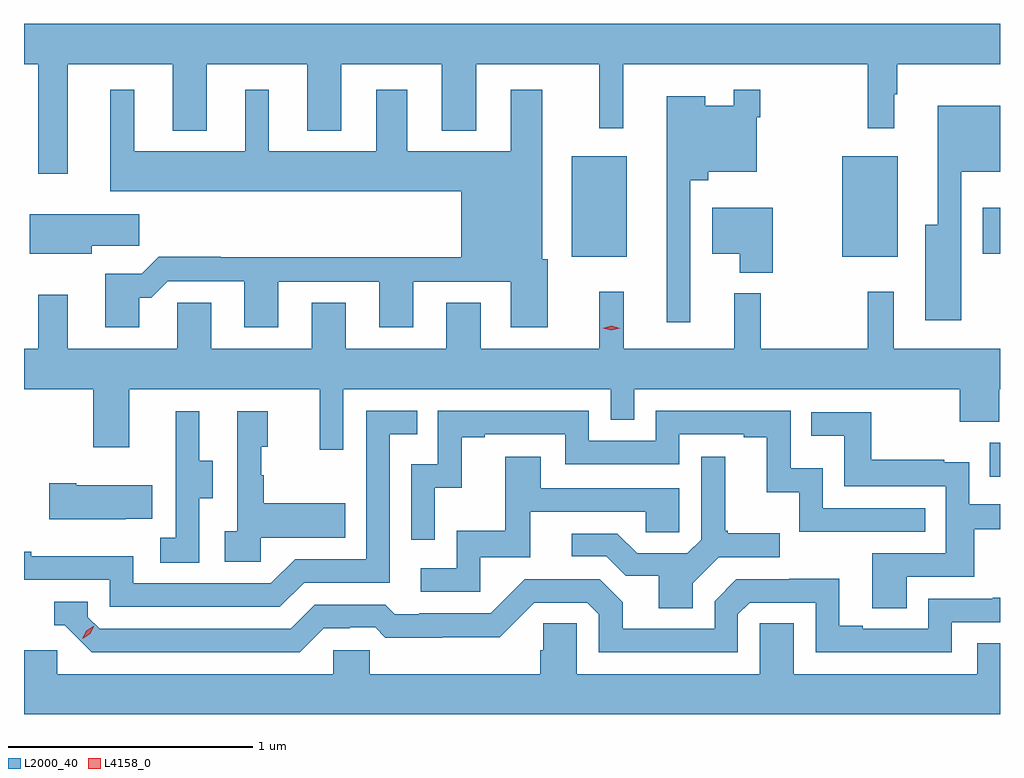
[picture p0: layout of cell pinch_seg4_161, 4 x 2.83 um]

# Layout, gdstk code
import gdstk
lib = gdstk.Library(unit=1e-6, precision=1e-09)
def R(c, l, rs):  # rectangles x0, y0, x1, y1
    for r in rs: c.add(gdstk.rectangle(r[:2], r[2:], *l))
def P(c, l, *ps):  # polygons
    for p in ps: c.add(gdstk.Polygon(p, *l))
L2000_40 = (2000, 40)
L4158_0 = (4158, 0)

pinch_seg4_161 = lib.new_cell('pinch_seg4_161')
R(pinch_seg4_161, L2000_40, [(1122.991,800.456,1123.032,800.596), (1121.276,801.359,1121.503,801.769), (1122.386,801.359,1122.613,801.769), (1122.962,801.371,1123.032,801.559)])
P(pinch_seg4_161, L2000_40, [(1119.211,802.148),(1119.641,802.148),(1119.641,801.875),(1119.781,801.875),(1119.781,802.148),(1120.193,802.148),(1120.193,801.875),(1120.333,801.875),(1120.333,802.148),(1120.745,802.148),(1120.745,801.875),(1120.885,801.875),(1120.885,802.148),(1121.389,802.148),(1121.389,801.885),(1121.488,801.885),(1121.488,802.148),(1122.489,802.148),(1122.489,801.885),(1122.598,801.885),(1122.598,802.025),(1122.61,802.025),(1122.61,802.148),(1123.032,802.148),(1123.032,802.312),(1119.032,802.312),(1119.032,802.148),(1119.09,802.148),(1119.09,801.699),(1119.211,801.699)],
  [(1121.763,801.671),(1121.837,801.671),(1121.837,801.707),(1122.036,801.707),(1122.036,801.929),(1122.049,801.929),(1122.049,802.042),(1121.94,802.042),(1121.94,801.976),(1121.824,801.976),(1121.824,802.015),(1121.666,802.015),(1121.666,801.09),(1121.763,801.09)],
  [(1119.505,801.191),(1119.554,801.191),(1119.621,801.258),(1119.935,801.258),(1119.935,801.069),(1120.075,801.069),(1120.075,801.255),(1120.487,801.255),(1120.487,801.069),(1120.627,801.069),(1120.627,801.255),(1121.027,801.255),(1121.027,801.069),(1121.179,801.069),(1121.179,801.348),(1121.155,801.348),(1121.155,802.042),(1121.027,802.042),(1121.027,801.79),(1120.603,801.79),(1120.603,802.042),(1120.475,802.042),(1120.475,801.79),(1120.036,801.79),(1120.036,802.042),(1119.938,802.042),(1119.938,801.79),(1119.484,801.79),(1119.484,802.042),(1119.386,802.042),(1119.386,801.626),(1120.823,801.626),(1120.823,801.356),(1119.839,801.356),(1119.839,801.359),(1119.584,801.359),(1119.514,801.289),(1119.365,801.289),(1119.365,801.069),(1119.505,801.069)],
  [(1122.874,801.707),(1123.032,801.707),(1123.032,801.976),(1122.776,801.976),(1122.776,801.49),(1122.725,801.49),(1122.725,801.098),(1122.874,801.098)],
  [(1122.1,801.559),(1121.852,801.559),(1121.852,801.371),(1121.966,801.371),(1121.966,801.293),(1122.1,801.293)],
  [(1119.31,801.403),(1119.505,801.403),(1119.505,801.532),(1119.056,801.532),(1119.056,801.371),(1119.31,801.371)],
  [(1120.341,800.816),(1121.436,800.816),(1121.436,800.689),(1121.532,800.689),(1121.532,800.816),(1122.868,800.816),(1122.868,800.681),(1123.028,800.681),(1123.028,800.816),(1123.032,800.816),(1123.032,800.98),(1122.597,800.98),(1122.597,801.214),(1122.489,801.214),(1122.489,800.98),(1122.052,800.98),(1122.052,801.208),(1121.942,801.208),(1121.942,800.98),(1121.489,800.98),(1121.489,801.214),(1121.39,801.214),(1121.39,800.98),(1120.903,800.98),(1120.903,801.17),(1120.763,801.17),(1120.763,800.98),(1120.351,800.98),(1120.351,801.17),(1120.211,801.17),(1120.211,800.98),(1119.799,800.98),(1119.799,801.17),(1119.66,801.17),(1119.66,800.98),(1119.211,800.98),(1119.211,801.202),(1119.09,801.202),(1119.09,800.98),(1119.032,800.98),(1119.032,800.816),(1119.316,800.816),(1119.316,800.577),(1119.463,800.577),(1119.463,800.816),(1120.244,800.816),(1120.244,800.568),(1120.341,800.568)],
  [(1120.18,800.022),(1120.53,800.022),(1120.53,800.631),(1120.643,800.631),(1120.643,800.727),(1120.434,800.727),(1120.434,800.118),(1120.143,800.118),(1120.044,800.019),(1119.48,800.019),(1119.48,800.131),(1119.061,800.131),(1119.061,800.15),(1119.032,800.15),(1119.032,800.034),(1119.384,800.034),(1119.384,799.923),(1120.081,799.923)],
  [(1120.716,800.411),(1120.826,800.411),(1120.826,800.619),(1120.921,800.619),(1120.921,800.631),(1121.25,800.631),(1121.25,800.508),(1121.718,800.508),(1121.718,800.631),(1121.981,800.631),(1121.981,800.619),(1122.077,800.619),(1122.077,800.393),(1122.21,800.393),(1122.21,800.232),(1122.725,800.232),(1122.725,800.328),(1122.306,800.328),(1122.306,800.491),(1122.174,800.491),(1122.174,800.727),(1121.622,800.727),(1121.622,800.604),(1121.346,800.604),(1121.346,800.727),(1120.728,800.727),(1120.728,800.508),(1120.62,800.508),(1120.62,800.199),(1120.716,800.199)],
  [(1119.75,800.368),(1119.805,800.368),(1119.805,800.523),(1119.751,800.523),(1119.751,800.725),(1119.653,800.725),(1119.653,800.511),(1119.654,800.511),(1119.654,800.207),(1119.591,800.207),(1119.591,800.104),(1119.75,800.104)],
  [(1120.002,800.207),(1120.349,800.207),(1120.349,800.347),(1120.015,800.347),(1120.015,800.462),(1120.005,800.462),(1120.005,800.58),(1120.03,800.58),(1120.03,800.725),(1119.906,800.725),(1119.906,800.234),(1119.855,800.234),(1119.855,800.109),(1120.002,800.109)],
  [(1122.649,800.046),(1122.926,800.046),(1122.926,800.242),(1123.032,800.242),(1123.032,800.343),(1122.906,800.343),(1122.906,800.515),(1122.803,800.515),(1122.803,800.527),(1122.505,800.527),(1122.505,800.721),(1122.259,800.721),(1122.259,800.624),(1122.394,800.624),(1122.394,800.418),(1122.81,800.418),(1122.81,800.142),(1122.509,800.142),(1122.509,799.918),(1122.649,799.918)],
  [(1120.902,800.127),(1121.107,800.127),(1121.107,800.313),(1121.581,800.313),(1121.581,800.229),(1121.718,800.229),(1121.718,800.409),(1121.149,800.409),(1121.149,800.539),(1121.005,800.539),(1121.005,800.236),(1120.806,800.236),(1120.806,800.082),(1120.659,800.082),(1120.659,799.986),(1120.902,799.986)],
  [(1121.773,800.02),(1121.88,800.127),(1122.13,800.127),(1122.13,800.224),(1121.917,800.224),(1121.917,800.236),(1121.905,800.236),(1121.905,800.539),(1121.808,800.539),(1121.808,800.199),(1121.751,800.142),(1121.545,800.142),(1121.464,800.223),(1121.277,800.223),(1121.277,800.13),(1121.418,800.13),(1121.498,800.05),(1121.633,800.05),(1121.633,799.918),(1121.773,799.918)],
  [(1119.449,800.285),(1119.557,800.285),(1119.557,800.422),(1119.247,800.422),(1119.247,800.43),(1119.135,800.43),(1119.135,800.282),(1119.449,800.282)],
  [(1120.261,799.836),(1120.368,799.836),(1120.368,799.839),(1120.471,799.839),(1120.513,799.797),(1120.746,799.797),(1120.746,799.799),(1120.982,799.799),(1121.124,799.941),(1121.34,799.941),(1121.388,799.893),(1121.388,799.737),(1121.958,799.737),(1121.958,799.893),(1122.006,799.941),(1122.276,799.941),(1122.276,799.737),(1122.834,799.737),(1122.834,799.86),(1123.032,799.86),(1123.032,799.961),(1123.003,799.961),(1123.003,799.956),(1122.738,799.956),(1122.738,799.833),(1122.469,799.833),(1122.469,799.846),(1122.373,799.846),(1122.373,800.039),(1122.168,800.039),(1122.168,800.037),(1121.952,800.037),(1121.862,799.947),(1121.862,799.833),(1121.485,799.833),(1121.485,799.943),(1121.391,800.037),(1121.085,800.037),(1120.944,799.896),(1120.651,799.896),(1120.651,799.893),(1120.552,799.893),(1120.513,799.932),(1120.224,799.932),(1120.125,799.833),(1119.342,799.833),(1119.294,799.881),(1119.294,799.944),(1119.155,799.944),(1119.155,799.848),(1119.198,799.848),(1119.309,799.737),(1120.162,799.737)],
  [(1123.032,799.775),(1122.939,799.775),(1122.939,799.648),(1122.187,799.648),(1122.187,799.856),(1122.048,799.856),(1122.048,799.648),(1121.298,799.648),(1121.298,799.856),(1121.161,799.856),(1121.161,799.746),(1121.147,799.746),(1121.147,799.648),(1120.449,799.648),(1120.449,799.746),(1120.299,799.746),(1120.299,799.648),(1119.168,799.648),(1119.168,799.746),(1119.032,799.746),(1119.032,799.484),(1123.032,799.484)])
P(pinch_seg4_161, L4158_0, [(1121.439,801.056),(1121.403,801.066),(1121.403,801.066),(1121.403,801.066),(1121.439,801.076),(1121.475,801.066),(1121.475,801.066),(1121.475,801.066)],
  [(1119.272,799.793),(1119.272,799.794),(1119.288,799.826),(1119.319,799.846),(1119.319,799.846),(1119.319,799.846),(1119.303,799.813),(1119.273,799.793)])

lib.write_gds('pinch_seg4_161.gds')
